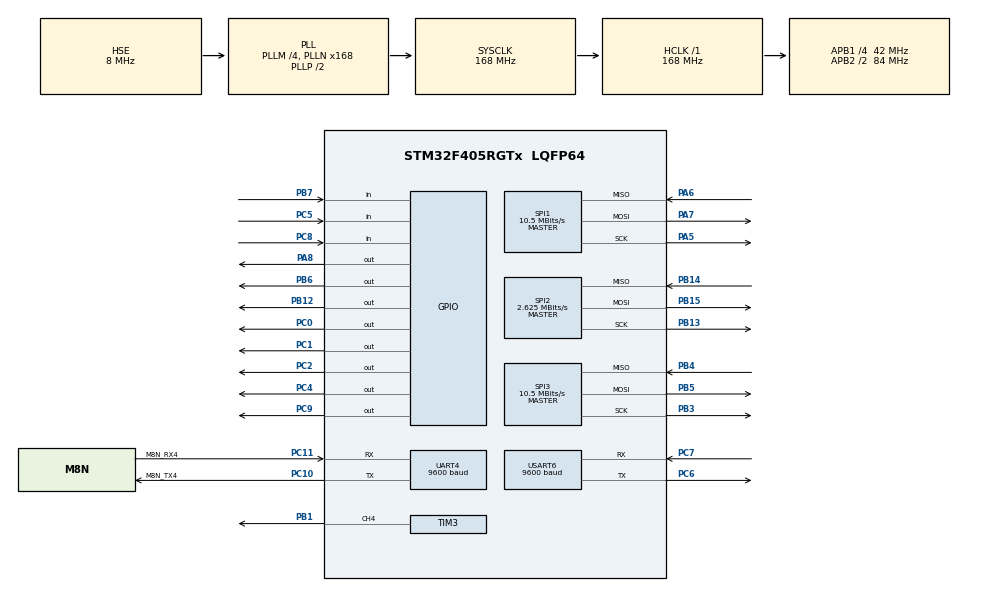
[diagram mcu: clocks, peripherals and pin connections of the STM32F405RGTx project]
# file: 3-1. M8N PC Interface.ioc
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Mcu.Family=STM32F4
Mcu.Name=STM32F405RGTx
Mcu.Package=LQFP64
NVIC.PriorityGroup=NVIC_PRIORITYGROUP_4
NVIC.UART4_IRQn=true\:0\:0\:false\:false\:true\:true\:true
NVIC.USART6_IRQn=true\:0\:0\:false\:false\:true\:true\:true
PA5.Mode=Full_Duplex_Master
PA5.Signal=SPI1_SCK
PA6.Mode=Full_Duplex_Master
PA6.Signal=SPI1_MISO
PA7.Mode=Full_Duplex_Master
PA7.Signal=SPI1_MOSI
PA8.Signal=GPIO_Output
PB1.Signal=S_TIM3_CH4
PB12.Signal=GPIO_Output
PB13.Mode=Full_Duplex_Master
PB13.Signal=SPI2_SCK
PB14.Mode=Full_Duplex_Master
PB14.Signal=SPI2_MISO
PB15.Mode=Full_Duplex_Master
PB15.Signal=SPI2_MOSI
PB3.Mode=Full_Duplex_Master
PB3.Signal=SPI3_SCK
PB4.Mode=Full_Duplex_Master
PB4.Signal=SPI3_MISO
PB5.Mode=Full_Duplex_Master
PB5.Signal=SPI3_MOSI
PB6.Signal=GPIO_Output
PB7.Signal=GPIO_Input
PC0.Signal=GPIO_Output
PC1.Signal=GPIO_Output
PC10.GPIO_Label=M8N_TX4
PC10.Mode=Asynchronous
PC10.Signal=UART4_TX
PC11.GPIO_Label=M8N_RX4
PC11.Mode=Asynchronous
PC11.Signal=UART4_RX
PC2.Signal=GPIO_Output
PC4.Signal=GPIO_Output
PC5.Signal=GPIO_Input
PC6.Mode=Asynchronous
PC6.Signal=USART6_TX
PC7.Mode=Asynchronous
PC7.Signal=USART6_RX
PC8.Signal=GPIO_Input
PC9.Signal=GPIO_Output
PH0-OSC_IN.Mode=HSE-External-Oscillator
PH0-OSC_IN.Signal=RCC_OSC_IN
PH1-OSC_OUT.Mode=HSE-External-Oscillator
PH1-OSC_OUT.Signal=RCC_OSC_OUT
ProjectManager.HeapSize=0x200
ProjectManager.StackSize=0x400
ProjectManager.TargetToolchain=STM32CubeIDE
RCC.48MHZClocksFreq_Value=84000000
RCC.AHBFreq_Value=168000000
RCC.APB1CLKDivider=RCC_HCLK_DIV4
RCC.APB1Freq_Value=42000000
RCC.APB1TimFreq_Value=84000000
RCC.APB2CLKDivider=RCC_HCLK_DIV2
RCC.APB2Freq_Value=84000000
RCC.APB2TimFreq_Value=168000000
RCC.CortexFreq_Value=168000000
RCC.HCLKFreq_Value=168000000
RCC.HSE_VALUE=8000000
RCC.HSI_VALUE=16000000
RCC.LSE_VALUE=32768
RCC.PLLM=4
RCC.PLLN=168
RCC.PLLSourceVirtual=RCC_PLLSOURCE_HSE
RCC.SYSCLKFreq_VALUE=168000000
RCC.SYSCLKSource=RCC_SYSCLKSOURCE_PLLCLK
RCC.VCOOutputFreq_Value=336000000
SH.S_TIM3_CH4.0=TIM3_CH4,PWM Generation4 CH4
SPI1.BaudRatePrescaler=SPI_BAUDRATEPRESCALER_8
SPI1.CLKPhase=SPI_PHASE_2EDGE
SPI1.CLKPolarity=SPI_POLARITY_HIGH
SPI1.CalculateBaudRate=10.5 MBits/s
SPI1.Direction=SPI_DIRECTION_2LINES
SPI1.Mode=SPI_MODE_MASTER
SPI1.VirtualType=VM_MASTER
SPI2.BaudRatePrescaler=SPI_BAUDRATEPRESCALER_16
SPI2.CLKPhase=SPI_PHASE_2EDGE
SPI2.CLKPolarity=SPI_POLARITY_HIGH
SPI2.CalculateBaudRate=2.625 MBits/s
SPI2.Direction=SPI_DIRECTION_2LINES
SPI2.Mode=SPI_MODE_MASTER
SPI2.VirtualType=VM_MASTER
SPI3.BaudRatePrescaler=SPI_BAUDRATEPRESCALER_4
SPI3.CLKPhase=SPI_PHASE_2EDGE
SPI3.CLKPolarity=SPI_POLARITY_HIGH
SPI3.CalculateBaudRate=10.5 MBits/s
SPI3.Direction=SPI_DIRECTION_2LINES
SPI3.Mode=SPI_MODE_MASTER
SPI3.VirtualType=VM_MASTER
TIM3.AutoReloadPreload=TIM_AUTORELOAD_PRELOAD_ENABLE
TIM3.Channel-PWM\ Generation4\ CH4=TIM_CHANNEL_4
TIM3.OCFastMode_PWM-PWM\ Generation4\ CH4=TIM_OCFAST_ENABLE
TIM3.Period=20
TIM3.Prescaler=999
TIM3.Pulse-PWM\ Generation4\ CH4=10
UART4.BaudRate=9600
UART4.VirtualMode=Asynchronous
USART6.BaudRate=9600
USART6.VirtualMode=VM_ASYNC
VP_TIM3_VS_ClockSourceINT.Mode=Internal
board=custom

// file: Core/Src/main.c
/* USER CODE BEGIN Header */
/**
  ******************************************************************************
  * @file           : main.c
  * @brief          : Main program body
  ******************************************************************************
  * @attention
  *
  * <h2><center>&copy; Copyright (c) 2020 STMicroelectronics.
  * All rights reserved.</center></h2>
  *
  * This software component is licensed by ST under BSD 3-Clause license,
  * the "License"; You may not use this file except in compliance with the
  * License. You may obtain a copy of the License at:
  *                        opensource.org/licenses/BSD-3-Clause
  *
  ******************************************************************************
  */
/* USER CODE END Header */

#include "main.h"
#include "spi.h"
#include "tim.h"
#include "usart.h"
#include "gpio.h"

/* USER CODE BEGIN Includes */
#include "BNO080.h"
#include "Quaternion.h"
#include "ICM20602.h"
#include "LPS22HH.h"
/* USER CODE END Includes */

/* USER CODE BEGIN PTD */
int _write(int file, char* p, int len)
{
	for(int i=0;i<len;i++)
	{
		LL_USART_TransmitData8(USART6,*(p+i));
		HAL_Delay(1);
	}
	return len;
}
/* USER CODE END PTD */

/* USER CODE BEGIN PV */
extern uint8_t	uart6_rx_flag;
extern uint8_t 	uart6_rx_data;
extern uint8_t	uart4_rx_flag;
extern uint8_t 	uart4_rx_data;
/* USER CODE END PV */

void SystemClock_Config(void);

int main(void)
{
  /* USER CODE BEGIN 1 */
	int count = 0;
	float f = 1.234;
	float q[4];
	float quatRadianAccuray;
  /* USER CODE END 1 */

  /* MCU Configuration--------------------------------------------------------*/

  /* Reset of all peripherals, Initializes the Flash interface and the Systick. */
  HAL_Init();

  /* Configure the system clock */
  SystemClock_Config();

  /* Initialize all configured peripherals */
  MX_GPIO_Init();
  MX_TIM3_Init();
  MX_USART6_UART_Init();
  MX_SPI2_Init();
  MX_SPI1_Init();
  MX_SPI3_Init();
  MX_UART4_Init();
  /* USER CODE BEGIN 2 */
  LL_TIM_EnableCounter(TIM3);
  LL_TIM_CC_EnableChannel(TIM3, LL_TIM_CHANNEL_CH4);

  TIM3->PSC = 2000; // 2kHz
  HAL_Delay(100);
  TIM3->PSC=1500;  // 3kHz
  HAL_Delay(100);
  TIM3->PSC=1000; // 4kHz
  HAL_Delay(100);

  LL_TIM_CC_DisableChannel(TIM3, LL_TIM_CHANNEL_CH4);

  LL_USART_EnableIT_RXNE(USART6);
  LL_USART_EnableIT_RXNE(UART4);

  BNO080_Initialization();
  BNO080_enableGameRotationVector(2500); // 400 times per sec

  ICM20602_Initialization();
  LPS22HH_Initialization();

  /* USER CODE END 2 */

  /* Infinite loop */
  while (1)
  {

    /* USER CODE BEGIN 3 */

//	  if(BNO080_dataAvailable() == 1)
//	  {
//		  LL_GPIO_TogglePin(GPIOC, LL_GPIO_PIN_0);
//		  q[0] = BNO080_getQuatI();
//		  q[1] = BNO080_getQuatJ();
//		  q[2] = BNO080_getQuatK();
//		  q[3] = BNO080_getQuatReal();
//		  quatRadianAccuray = BNO080_getQuatAccuracy();
//
//		  Quaternion_Update(&q[0]);
//
//		  printf("%d,%d,%d\n",(int)(BNO080_Roll*100),(int)(BNO080_Pitch*100),(int)(BNO080_Yaw*100));
//	  }
//	  if(ICM20602_DataReady() == 1)
//	  {
//		  ICM20602_Get3AxisGyroRawData(&ICM20602.gyro_x_raw);
//
//		  ICM20602.gyro_x = ICM20602.gyro_x_raw = 2000.f / 32768.f;
//		  ICM20602.gyro_y = ICM20602.gyro_y_raw = 2000.f / 32768.f;
//		  ICM20602.gyro_z = ICM20602.gyro_z_raw = 2000.f / 32768.f;
//
//		  //printf("%d, %d, %d\n", ICM20602.gyro_x_raw, ICM20602.gyro_y_raw, ICM20602.gyro_z_raw);
//		  printf("%d, %d, %d\n", (int)(ICM20602.gyro_x*100), (int)(ICM20602.gyro_y*100), (int)(ICM20602.gyro_z*100));
//	  }
//	  if(LPS22HH_DataReady() == 1)
//	  {
//		  LPS22HH_GetPressure(&LPS22HH.pressure_raw);
//		  LPS22HH_GetTemperature(&LPS22HH.temperature_raw);
//
//		  LPS22HH.baroAlt = getAltitude2(LPS22HH.pressure_raw/4096.f, LPS22HH.temperature_raw/100.f);
//#define X 0.90f
//		  LPS22HH.baroAltFilt = LPS22HH.baroAltFilt * X + LPS22HH.baroAlt * (1.0f - X);
//
//		  printf("%d, %d\n", (int)(LPS22HH.baroAlt*100),(int)(LPS22HH.baroAltFilt*100));
//	  }

  }
  /* USER CODE END 3 */
}

void SystemClock_Config(void)
{
  RCC_OscInitTypeDef RCC_OscInitStruct = {0};
  RCC_ClkInitTypeDef RCC_ClkInitStruct = {0};

  /** Configure the main internal regulator output voltage
  */
  __HAL_RCC_PWR_CLK_ENABLE();
  __HAL_PWR_VOLTAGESCALING_CONFIG(PWR_REGULATOR_VOLTAGE_SCALE1);
  /** Initializes the CPU, AHB and APB busses clocks
  */
  RCC_OscInitStruct.OscillatorType = RCC_OSCILLATORTYPE_HSE;
  RCC_OscInitStruct.HSEState = RCC_HSE_ON;
  RCC_OscInitStruct.PLL.PLLState = RCC_PLL_ON;
  RCC_OscInitStruct.PLL.PLLSource = RCC_PLLSOURCE_HSE;
  RCC_OscInitStruct.PLL.PLLM = 4;
  RCC_OscInitStruct.PLL.PLLN = 168;
  RCC_OscInitStruct.PLL.PLLP = RCC_PLLP_DIV2;
  RCC_OscInitStruct.PLL.PLLQ = 4;
  if (HAL_RCC_OscConfig(&RCC_OscInitStruct) != HAL_OK)
  {
    Error_Handler();
  }
  /** Initializes the CPU, AHB and APB busses clocks
  */
  RCC_ClkInitStruct.ClockType = RCC_CLOCKTYPE_HCLK|RCC_CLOCKTYPE_SYSCLK
                              |RCC_CLOCKTYPE_PCLK1|RCC_CLOCKTYPE_PCLK2;
  RCC_ClkInitStruct.SYSCLKSource = RCC_SYSCLKSOURCE_PLLCLK;
  RCC_ClkInitStruct.AHBCLKDivider = RCC_SYSCLK_DIV1;
  RCC_ClkInitStruct.APB1CLKDivider = RCC_HCLK_DIV4;
  RCC_ClkInitStruct.APB2CLKDivider = RCC_HCLK_DIV2;

  if (HAL_RCC_ClockConfig(&RCC_ClkInitStruct, FLASH_LATENCY_5) != HAL_OK)
  {
    Error_Handler();
  }
}

void Error_Handler(void)
{
}

/************************ (C) COPYRIGHT STMicroelectronics *****END OF FILE****/
